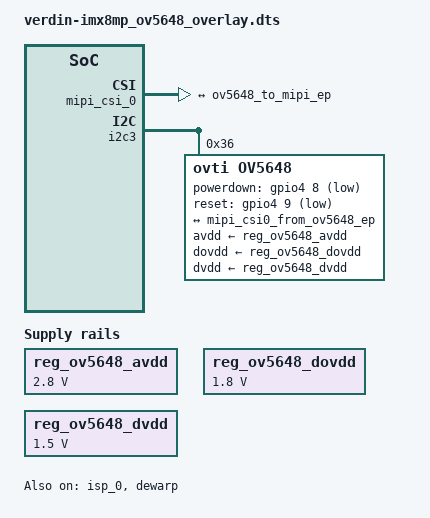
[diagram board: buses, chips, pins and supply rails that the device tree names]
/dts-v1/;
/plugin/;

#include "imx8mp-pinfunc.h"
#include <dt-bindings/clock/imx8mp-clock.h>
#include <dt-bindings/gpio/gpio.h>

&{/} {
    reg_ov5648_avdd: regulator-ov5648-avdd {
        compatible = "regulator-fixed";
        regulator-name = "ov5648_avdd";
        regulator-min-microvolt = <2800000>;
        regulator-max-microvolt = <2800000>;
        regulator-always-on;
    };

    reg_ov5648_dovdd: regulator-ov5648-dovdd {
        compatible = "regulator-fixed";
        regulator-name = "ov5648_dovdd";
        regulator-min-microvolt = <1800000>;
        regulator-max-microvolt = <1800000>;
        regulator-always-on;
    };

    reg_ov5648_dvdd: regulator-ov5648-dvdd {
        compatible = "regulator-fixed";
        regulator-name = "ov5648_dvdd";
        regulator-min-microvolt = <1500000>;
        regulator-max-microvolt = <1500000>;
        regulator-always-on;
    };
};

/*
 * MIPI CSI-2 Receiver (Samtec driver: imx8-mipi-csi2-sam.c)
 *
 * KEY ARCHITECTURE (imx8-media-dev.c register_sensor_entities):
 *   - mx8-img-md finds sensors by walking: CSI node -> FIRST child (port)
 *     -> FIRST child of port (endpoint) -> remote-endpoint -> SENSOR
 *   - It calls of_find_i2c_device_by_node(sensor) to verify I2C
 *   - ISI <-> CSI connection is managed by ISI's "interface" property
 *     in the BASE DTB, NOT by OF graph ports!
 *
 * The imx8-mipi-csi2-sam.c driver reads lanes:
 *   of_graph_get_next_endpoint(node, NULL) -> FIRST endpoint -> data-lanes
 */
&mipi_csi_0 {
    status = "okay";
    /delete-node/ port;

    port@0 {
        mipi_csi0_from_ov5648_ep: endpoint {
            remote-endpoint = <&ov5648_to_mipi_ep>;
            data-lanes = <2>;   /* number of lanes for ISP driver */
            csis-hs-settle = <16>;
        };
    };
};

/* ISP: Enable for RAW sensor processing (debayering, etc.) */
&isi_0 {
    status = "disabled";
};

&isp_0 {
    status = "okay";
};

&dewarp {
    status = "okay";
};

/* Media Controller */
&{/soc@0/bus@32c00000/camera} {
    status = "okay";
};

/* Verdin I2C_4_CSI */
&i2c3 {
    #address-cells = <1>;
    #size-cells = <0>;
    status = "okay";

    ov5648: camera@36 {
        compatible = "ovti,ov5648";
        reg = <0x36>;
        pinctrl-names = "default";
        pinctrl-0 = <&pinctrl_ov5648_gpios &pinctrl_csi_mclk>;

        avdd-supply = <&reg_ov5648_avdd>;
        dovdd-supply = <&reg_ov5648_dovdd>;
        dvdd-supply = <&reg_ov5648_dvdd>;

        clocks = <&audio_blk_ctrl IMX8MP_CLK_AUDIOMIX_SAI3_MCLK1>;
        clock-names = "xclk";
        assigned-clocks = <&audio_blk_ctrl IMX8MP_CLK_AUDIOMIX_SAI3_MCLK1>;
        assigned-clock-parents = <&clk IMX8MP_CLK_24M>;
        assigned-clock-rates = <24000000>;

        powerdown-gpios = <&gpio4 8 GPIO_ACTIVE_LOW>;  
        reset-gpios = <&gpio4 9 GPIO_ACTIVE_LOW>;

        status = "okay";

        port {
            ov5648_to_mipi_ep: endpoint {
                remote-endpoint = <&mipi_csi0_from_ov5648_ep>;
                data-lanes = <1 2>;
                clock-lanes = <0>;
                clock-noncontinuous;
                link-frequencies = /bits/ 64 <210000000 168000000>;
            };
        };
    };
};

/* Disable FEC to free GPIO4_IO08/09 */
&fec {
    status = "disabled";
};

&iomuxc {
    pinctrl_ov5648_gpios: ov5648gpiosgrp {
        fsl,pins = <
            MX8MP_IOMUXC_SAI1_RXD6__GPIO4_IO08    0x10
            MX8MP_IOMUXC_SAI1_RXD7__GPIO4_IO09    0x10
        >;
    };

    /* MCLK: CSI_1_MCLK = SODIMM 91 = SAI3_MCLK as Audio Master Clock 3 */
    pinctrl_csi_mclk: csimclkgrp {
        fsl,pins = <
            MX8MP_IOMUXC_SAI3_MCLK__AUDIOMIX_SAI3_MCLK    0xd6
        >;
    };
};

&iomuxc {
    pinctrl-names = "default";
    pinctrl-0 = <&pinctrl_gpio1>, <&pinctrl_gpio2>,
                <&pinctrl_gpio3>, <&pinctrl_gpio4>,
                <&pinctrl_gpio7>, <&pinctrl_gpio8>,
                <&pinctrl_gpio_hog1>, <&pinctrl_hdmi_hog>;
};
